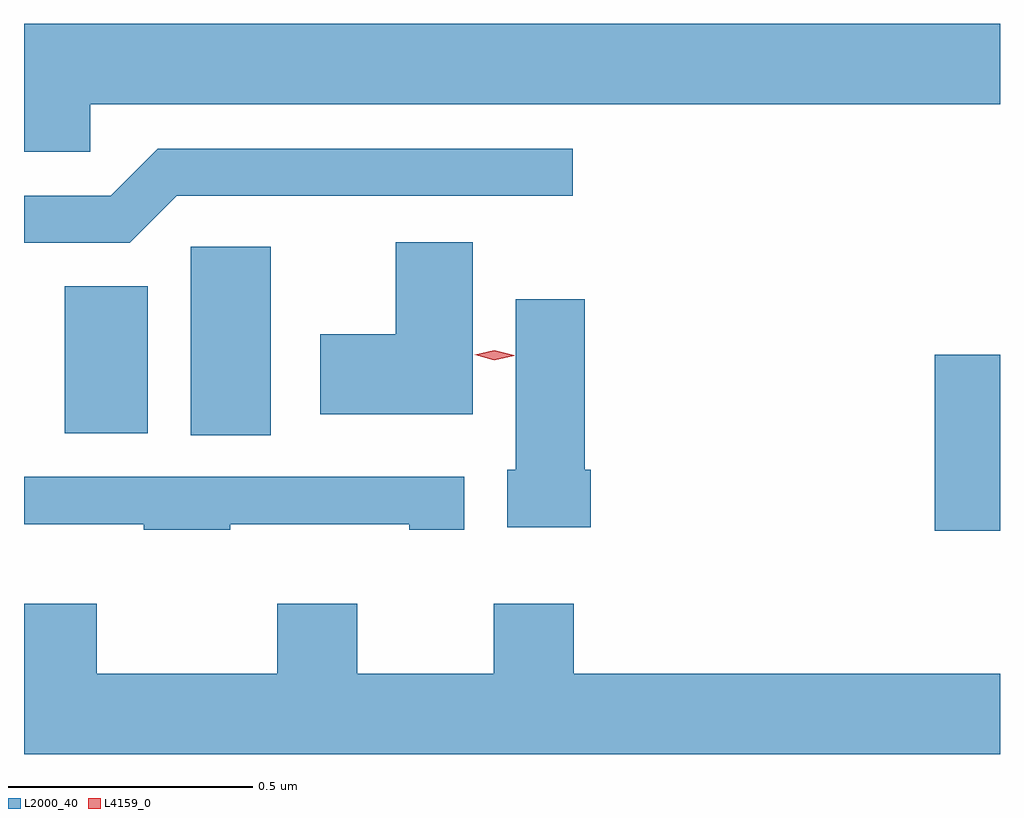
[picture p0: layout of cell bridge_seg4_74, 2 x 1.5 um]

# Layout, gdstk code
import gdstk
lib = gdstk.Library(unit=1e-6, precision=1e-09)
def R(c, l, rs):  # rectangles x0, y0, x1, y1
    for r in rs: c.add(gdstk.rectangle(r[:2], r[2:], *l))
def P(c, l, *ps):  # polygons
    for p in ps: c.add(gdstk.Polygon(p, *l))
L2000_40 = (2000, 40)
L4159_0 = (4159, 0)

bridge_seg4_74 = lib.new_cell('bridge_seg4_74')
R(bridge_seg4_74, L2000_40, [(409.532,815.926,409.666,816.286), (408.008,816.121,408.172,816.508), (407.75,816.125,407.92,816.427)])
P(bridge_seg4_74, L2000_40, [(407.802,816.8),(409.666,816.8),(409.666,816.964),(407.666,816.964),(407.666,816.702),(407.802,816.702)],
  [(407.979,816.612),(408.79,816.612),(408.79,816.708),(407.94,816.708),(407.844,816.612),(407.666,816.612),(407.666,816.516),(407.883,816.516)],
  [(408.586,816.517),(408.428,816.517),(408.428,816.328),(408.273,816.328),(408.273,816.164),(408.586,816.164)],
  [(408.827,816.051),(408.815,816.051),(408.815,816.4),(408.674,816.4),(408.674,816.051),(408.656,816.051),(408.656,815.933),(408.827,815.933)],
  [(408.089,815.939),(408.455,815.939),(408.455,815.928),(408.568,815.928),(408.568,816.036),(407.666,816.036),(407.666,815.939),(407.911,815.939),(407.911,815.928),(408.089,815.928)],
  [(409.666,815.632),(408.793,815.632),(408.793,815.776),(408.629,815.776),(408.629,815.632),(408.349,815.632),(408.349,815.776),(408.185,815.776),(408.185,815.632),(407.815,815.632),(407.815,815.776),(407.666,815.776),(407.666,815.468),(409.666,815.468)])
P(bridge_seg4_74, L4159_0, [(408.63,816.275),(408.59,816.286),(408.589,816.286),(408.59,816.286),(408.63,816.295),(408.671,816.285),(408.671,816.284),(408.671,816.284)])

lib.write_gds('bridge_seg4_74.gds')
